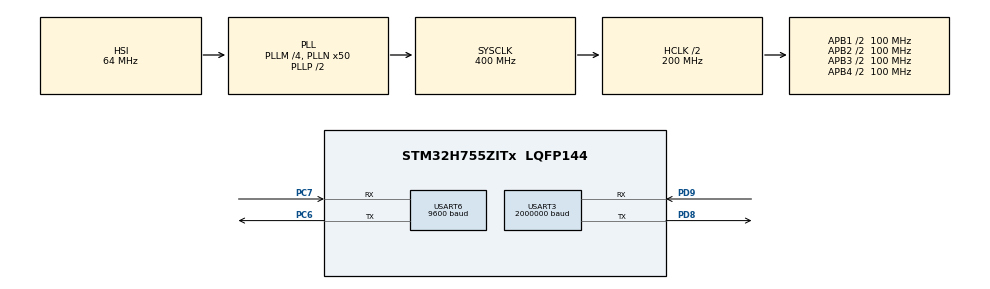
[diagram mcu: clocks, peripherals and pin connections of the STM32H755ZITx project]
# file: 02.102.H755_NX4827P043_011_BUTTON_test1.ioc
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CortexM4.IPs=FATFS_M4\:I,FREERTOS_M4\:I,IWDG2\:I,RCC,WWDG2\:I,DMA,BDMA,MDMA,NVIC2\:I,ETH,DEBUG,PDM2PCM_M4\:I,PWR,RESMGR_UTILITY,SYS_M4\:I,USB_DEVICE_M4\:I,USB_HOST_M4\:I,CORTEX_M4\:I,GPIO,OPENAMP_M4\:I,VREFBUF,NUCLEO-H755ZI-Q
CortexM7.IPs=FATFS_M7\:I,FREERTOS_M7\:I,IWDG1\:I,RCC\:I,WWDG1\:I,DMA\:I,BDMA\:I,MDMA\:I,NVIC1\:I,ETH\:I,USB_OTG_FS\:I,SYS\:I,CORTEX_M7\:I,DEBUG\:I,PDM2PCM_M7\:I,PWR\:I,RESMGR_UTILITY\:I,USB_DEVICE_M7\:I,USB_HOST_M7\:I,GPIO\:I,OPENAMP_M7\:I,VREFBUF\:I,NUCLEO-H755ZI-Q\:I,USART3\:I,USART6\:I
Dma.Request0=USART3_TX
Dma.Request1=USART3_RX
Dma.USART3_RX.1.Direction=DMA_PERIPH_TO_MEMORY
Dma.USART3_RX.1.EventEnable=DISABLE
Dma.USART3_RX.1.FIFOMode=DMA_FIFOMODE_DISABLE
Dma.USART3_RX.1.Instance=DMA1_Stream1
Dma.USART3_RX.1.MemDataAlignment=DMA_MDATAALIGN_BYTE
Dma.USART3_RX.1.MemInc=DMA_MINC_ENABLE
Dma.USART3_RX.1.Mode=DMA_CIRCULAR
Dma.USART3_RX.1.PeriphDataAlignment=DMA_PDATAALIGN_BYTE
Dma.USART3_RX.1.PeriphInc=DMA_PINC_DISABLE
Dma.USART3_RX.1.Polarity=HAL_DMAMUX_REQ_GEN_RISING
Dma.USART3_RX.1.Priority=DMA_PRIORITY_LOW
Dma.USART3_RX.1.RequestNumber=1
Dma.USART3_RX.1.SignalID=NONE
Dma.USART3_RX.1.SyncEnable=DISABLE
Dma.USART3_RX.1.SyncPolarity=HAL_DMAMUX_SYNC_NO_EVENT
Dma.USART3_RX.1.SyncRequestNumber=1
Dma.USART3_RX.1.SyncSignalID=NONE
Dma.USART3_TX.0.Direction=DMA_MEMORY_TO_PERIPH
Dma.USART3_TX.0.EventEnable=DISABLE
Dma.USART3_TX.0.FIFOMode=DMA_FIFOMODE_DISABLE
Dma.USART3_TX.0.Instance=DMA1_Stream0
Dma.USART3_TX.0.MemDataAlignment=DMA_MDATAALIGN_BYTE
Dma.USART3_TX.0.MemInc=DMA_MINC_ENABLE
Dma.USART3_TX.0.Mode=DMA_NORMAL
Dma.USART3_TX.0.PeriphDataAlignment=DMA_PDATAALIGN_BYTE
Dma.USART3_TX.0.PeriphInc=DMA_PINC_DISABLE
Dma.USART3_TX.0.Polarity=HAL_DMAMUX_REQ_GEN_RISING
Dma.USART3_TX.0.Priority=DMA_PRIORITY_LOW
Dma.USART3_TX.0.RequestNumber=1
Dma.USART3_TX.0.SignalID=NONE
Dma.USART3_TX.0.SyncEnable=DISABLE
Dma.USART3_TX.0.SyncPolarity=HAL_DMAMUX_SYNC_NO_EVENT
Dma.USART3_TX.0.SyncRequestNumber=1
Dma.USART3_TX.0.SyncSignalID=NONE
Mcu.Family=STM32H7
Mcu.Name=STM32H755ZITx
Mcu.Package=LQFP144
NVIC1.DMA1_Stream0_IRQn=true\:1\:0\:true\:false\:true\:false\:true\:true
NVIC1.DMA1_Stream1_IRQn=true\:1\:0\:true\:false\:true\:false\:true\:true
NVIC1.PriorityGroup=NVIC_PRIORITYGROUP_4
NVIC1.USART3_IRQn=true\:1\:0\:true\:false\:true\:true\:true\:true
NVIC2.PriorityGroup=NVIC_PRIORITYGROUP_4
PB0.TagName=LD1
PB14.TagName=LD3
PC13.TagName=BUTTON
PC6.Mode=Asynchronous
PC6.PinAttribute=CortexM7
PC6.Signal=USART6_TX
PC7.Mode=Asynchronous
PC7.PinAttribute=CortexM7
PC7.Signal=USART6_RX
PD8.Mode=Asynchronous
PD8.PinAttribute=CortexM7
PD8.Signal=USART3_TX
PD8.TagName=VCP_RX
PD9.Mode=Asynchronous
PD9.PinAttribute=CortexM7
PD9.Signal=USART3_RX
PD9.TagName=VCP_TX
PE1.TagName=LD2
ProjectManager.HeapSize=M4-0x200,M7-0x200
ProjectManager.StackSize=M4-0x400,M7-0x400
ProjectManager.TargetToolchain=STM32CubeIDE
RCC.ADCFreq_Value=129000000
RCC.APB1Freq_Value=100000000
RCC.APB2Freq_Value=100000000
RCC.APB3Freq_Value=100000000
RCC.APB4Freq_Value=100000000
RCC.CortexFreq_Value=400000000
RCC.D1PPRE=RCC_APB3_DIV2
RCC.D2PPRE1=RCC_APB1_DIV2
RCC.D2PPRE2=RCC_APB2_DIV2
RCC.D3PPRE=RCC_APB4_DIV2
RCC.DIVM1=4
RCC.DIVN1=50
RCC.DIVQ1=5
RCC.HCLKFreq_Value=200000000
RCC.HPRE=RCC_HCLK_DIV2
RCC.PLL2FRACN=0
RCC.PLL3FRACN=0
RCC.PLLFRACN=0
RCC.SYSCLKFreq_VALUE=400000000
RCC.SYSCLKSource=RCC_SYSCLKSOURCE_PLLCLK
RCC.SupplySource=PWR_DIRECT_SMPS_SUPPLY
RCC.USBFreq_Value=160000000
USART3.BaudRate=2000000
USART3.VirtualMode-Asynchronous=VM_ASYNC
USART6.BaudRate=9600
USART6.VirtualMode-Asynchronous=VM_ASYNC
VP_SYS_M4_VS_Systick.Mode=SysTick
board=NUCLEO-H755ZI-Q

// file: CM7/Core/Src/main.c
/* USER CODE BEGIN Header */
/**
  ******************************************************************************
  * @file           : main.c
  * @brief          : Main program body
  ******************************************************************************
  * @attention
  *
  * Copyright (c) 2025 STMicroelectronics.
  * All rights reserved.
  *
  * This software is licensed under terms that can be found in the LICENSE file
  * in the root directory of this software component.
  * If no LICENSE file comes with this software, it is provided AS-IS.
  *
  ******************************************************************************
  */
/* USER CODE END Header */
#include "main.h"

/* USER CODE BEGIN Includes */
#include <stdio.h>
#include <string.h>
#include <stddef.h>
#include <stdarg.h>
#include <stdbool.h>
#include <stdlib.h>
/* USER CODE END Includes */

/* USER CODE BEGIN PD */

/* DUAL_CORE_BOOT_SYNC_SEQUENCE: Define for dual core boot synchronization    */
/*                             demonstration code based on hardware semaphore */
/* This define is present in both CM7/CM4 projects                            */
/* To comment when developping/debugging on a single core                     */
#define DUAL_CORE_BOOT_SYNC_SEQUENCE

#if defined(DUAL_CORE_BOOT_SYNC_SEQUENCE)
#ifndef HSEM_ID_0
#define HSEM_ID_0 (0U) /* HW semaphore 0*/
#endif
#endif /* DUAL_CORE_BOOT_SYNC_SEQUENCE */

/* USER CODE END PD */

UART_HandleTypeDef huart3;
UART_HandleTypeDef huart6;
DMA_HandleTypeDef hdma_usart3_tx;
DMA_HandleTypeDef hdma_usart3_rx;

/* USER CODE BEGIN PV */
uint8_t dma_rx_buffer[64];
uint8_t dma_tx_buffer[64];
uint16_t old_pos = 0;

uint8_t it_rx_buffer[64];

static volatile bool uart_tx_busy = false;
static char uartBuffer[250];

uint8_t nextion_rx_byte;
uint8_t nextion_rx_buffer[128];
uint16_t nextion_rx_index = 0;

//#define UART6_DMA_RX_BUF_SIZE 128
//
//UART_HandleTypeDef huart6;
//
///* DMA RX buffer */
//uint8_t uart6_dma_rx_buf[UART6_DMA_RX_BUF_SIZE];
//
///* Software read index */
//uint16_t uart6_rx_old_pos = 0;
/* USER CODE END PV */

void SystemClock_Config(void);
static void MX_GPIO_Init(void);
static void MX_DMA_Init(void);
static void MX_USART3_UART_Init(void);
static void MX_USART6_UART_Init(void);

/* USER CODE BEGIN 0 */
void DebugPrint(const char *format, ...)
{
	// Wait for previous transmission to complete
	    while (uart_tx_busy);

	    va_list args;
	    va_start(args, format);
	    vsnprintf(uartBuffer, sizeof(uartBuffer), format, args);
	    va_end(args);

	    uart_tx_busy = true;

	    HAL_UART_Transmit_DMA(&huart3, (uint8_t *)uartBuffer, strlen(uartBuffer));
}

//void Nextion_DMA_Process(void)
//{
//    uint16_t new_pos;
//    uint16_t i;
//
//    /* Calculate current DMA write position */
//    new_pos = UART6_DMA_RX_BUF_SIZE -
//              __HAL_DMA_GET_COUNTER(huart6.hdmarx);
//
//    /* If new data arrived */
//    if (new_pos != uart6_rx_old_pos)
//    {
//        if (new_pos > uart6_rx_old_pos)
//        {
//            /* No wrap-around */
//            for (i = uart6_rx_old_pos; i < new_pos; i++)
//            {
//                DebugPrint("%02X ", uart6_dma_rx_buf[i]);
//            }
//        }
//        else
//        {
//            /* Wrap-around case */
//            for (i = uart6_rx_old_pos; i < UART6_DMA_RX_BUF_SIZE; i++)
//            {
//                DebugPrint("%02X ", uart6_dma_rx_buf[i]);
//            }
//            for (i = 0; i < new_pos; i++)
//            {
//                DebugPrint("%02X ", uart6_dma_rx_buf[i]);
//            }
//        }
//
//        /* Update last processed position */
//        uart6_rx_old_pos = new_pos;
//    }
//}

void Nextion_Poll_And_Forward(void)
{
    if (HAL_UART_Receive(&huart6, &nextion_rx_byte, 1, 1) == HAL_OK)
    {
        char buf[8];

        if (nextion_rx_index < sizeof(nextion_rx_buffer))
        {
            nextion_rx_buffer[nextion_rx_index++] = nextion_rx_byte;
        }

        sprintf(buf, "%02X ", (unsigned int)nextion_rx_byte);
        DebugPrint(buf);
    }
}

void check_dma_data(void)
{
    static uint32_t total_pos = 0;  // new: global linear counter

    uint16_t pos = sizeof(dma_rx_buffer) - __HAL_DMA_GET_COUNTER(&hdma_usart3_rx);

    if (pos != old_pos)
    {
        if (pos > old_pos)
        {
            // Normal forward move (no wrap)
            for (uint16_t i = old_pos; i < pos; i++)
            {
                DebugPrint("\r\nGot: '%c' (0x%02X) at pos %lu\r\n\r\n",
                           dma_rx_buffer[i], dma_rx_buffer[i], total_pos++);
            }
        }
        else
        {
            // Wrapped around — handle end part and restart from 0
            for (uint16_t i = old_pos; i < sizeof(dma_rx_buffer); i++)
            {
                DebugPrint("\r\nGot: '%c' (0x%02X) at pos %lu\r\n\r\n",
                           dma_rx_buffer[i], dma_rx_buffer[i], total_pos++);
            }
            for (uint16_t i = 0; i < pos; i++)
            {
                DebugPrint("\r\nGot: '%c' (0x%02X) at pos %lu\r\n\r\n",
                           dma_rx_buffer[i], dma_rx_buffer[i], total_pos++);
            }
        }

        old_pos = pos;
    }
}
/* USER CODE END 0 */

int main(void)
{

/* USER CODE BEGIN Boot_Mode_Sequence_0 */
#if defined(DUAL_CORE_BOOT_SYNC_SEQUENCE)
  int32_t timeout;
#endif /* DUAL_CORE_BOOT_SYNC_SEQUENCE */
/* USER CODE END Boot_Mode_Sequence_0 */

/* USER CODE BEGIN Boot_Mode_Sequence_1 */
#if defined(DUAL_CORE_BOOT_SYNC_SEQUENCE)
  /* Wait until CPU2 boots and enters in stop mode or timeout*/
  timeout = 0xFFFF;
  while((__HAL_RCC_GET_FLAG(RCC_FLAG_D2CKRDY) != RESET) && (timeout-- > 0));
  if ( timeout < 0 )
  {
  Error_Handler();
  }
#endif /* DUAL_CORE_BOOT_SYNC_SEQUENCE */
/* USER CODE END Boot_Mode_Sequence_1 */
  /* MCU Configuration--------------------------------------------------------*/

  /* Reset of all peripherals, Initializes the Flash interface and the Systick. */
  HAL_Init();

  /* Configure the system clock */
  SystemClock_Config();
/* USER CODE BEGIN Boot_Mode_Sequence_2 */
#if defined(DUAL_CORE_BOOT_SYNC_SEQUENCE)
/* When system initialization is finished, Cortex-M7 will release Cortex-M4 by means of
HSEM notification */
/*HW semaphore Clock enable*/
__HAL_RCC_HSEM_CLK_ENABLE();
/*Take HSEM */
HAL_HSEM_FastTake(HSEM_ID_0);
/*Release HSEM in order to notify the CPU2(CM4)*/
HAL_HSEM_Release(HSEM_ID_0,0);
/* wait until CPU2 wakes up from stop mode */
timeout = 0xFFFF;
while((__HAL_RCC_GET_FLAG(RCC_FLAG_D2CKRDY) == RESET) && (timeout-- > 0));
if ( timeout < 0 )
{
Error_Handler();
}
#endif /* DUAL_CORE_BOOT_SYNC_SEQUENCE */
/* USER CODE END Boot_Mode_Sequence_2 */

  /* Initialize all configured peripherals */
  MX_GPIO_Init();
  MX_DMA_Init();
  MX_USART3_UART_Init();
  MX_USART6_UART_Init();
  /* USER CODE BEGIN 2 */
  DebugPrint("UART3 DMA started! Type something...\r\n");

  HAL_UART_Receive_DMA(&huart3, dma_rx_buffer, sizeof(dma_rx_buffer));

  /* USER CODE END 2 */

  /* Infinite loop */
  while (1)
  {

    /* USER CODE BEGIN 3 */
	  Nextion_Poll_And_Forward();
	  check_dma_data();
  }
  /* USER CODE END 3 */
}

void SystemClock_Config(void)
{
  RCC_OscInitTypeDef RCC_OscInitStruct = {0};
  RCC_ClkInitTypeDef RCC_ClkInitStruct = {0};

  /** Supply configuration update enable
  */
  HAL_PWREx_ConfigSupply(PWR_DIRECT_SMPS_SUPPLY);

  /** Configure the main internal regulator output voltage
  */
  __HAL_PWR_VOLTAGESCALING_CONFIG(PWR_REGULATOR_VOLTAGE_SCALE1);

  while(!__HAL_PWR_GET_FLAG(PWR_FLAG_VOSRDY)) {}

  /** Initializes the RCC Oscillators according to the specified parameters
  * in the RCC_OscInitTypeDef structure.
  */
  RCC_OscInitStruct.OscillatorType = RCC_OSCILLATORTYPE_HSI;
  RCC_OscInitStruct.HSIState = RCC_HSI_DIV1;
  RCC_OscInitStruct.HSICalibrationValue = RCC_HSICALIBRATION_DEFAULT;
  RCC_OscInitStruct.PLL.PLLState = RCC_PLL_ON;
  RCC_OscInitStruct.PLL.PLLSource = RCC_PLLSOURCE_HSI;
  RCC_OscInitStruct.PLL.PLLM = 4;
  RCC_OscInitStruct.PLL.PLLN = 50;
  RCC_OscInitStruct.PLL.PLLP = 2;
  RCC_OscInitStruct.PLL.PLLQ = 5;
  RCC_OscInitStruct.PLL.PLLR = 2;
  RCC_OscInitStruct.PLL.PLLRGE = RCC_PLL1VCIRANGE_3;
  RCC_OscInitStruct.PLL.PLLVCOSEL = RCC_PLL1VCOWIDE;
  RCC_OscInitStruct.PLL.PLLFRACN = 0;
  if (HAL_RCC_OscConfig(&RCC_OscInitStruct) != HAL_OK)
  {
    Error_Handler();
  }

  /** Initializes the CPU, AHB and APB buses clocks
  */
  RCC_ClkInitStruct.ClockType = RCC_CLOCKTYPE_HCLK|RCC_CLOCKTYPE_SYSCLK
                              |RCC_CLOCKTYPE_PCLK1|RCC_CLOCKTYPE_PCLK2
                              |RCC_CLOCKTYPE_D3PCLK1|RCC_CLOCKTYPE_D1PCLK1;
  RCC_ClkInitStruct.SYSCLKSource = RCC_SYSCLKSOURCE_PLLCLK;
  RCC_ClkInitStruct.SYSCLKDivider = RCC_SYSCLK_DIV1;
  RCC_ClkInitStruct.AHBCLKDivider = RCC_HCLK_DIV2;
  RCC_ClkInitStruct.APB3CLKDivider = RCC_APB3_DIV2;
  RCC_ClkInitStruct.APB1CLKDivider = RCC_APB1_DIV2;
  RCC_ClkInitStruct.APB2CLKDivider = RCC_APB2_DIV2;
  RCC_ClkInitStruct.APB4CLKDivider = RCC_APB4_DIV2;

  if (HAL_RCC_ClockConfig(&RCC_ClkInitStruct, FLASH_LATENCY_2) != HAL_OK)
  {
    Error_Handler();
  }
}

static void MX_USART3_UART_Init(void)
{

  huart3.Instance = USART3;
  huart3.Init.BaudRate = 2000000;
  huart3.Init.WordLength = UART_WORDLENGTH_8B;
  huart3.Init.StopBits = UART_STOPBITS_1;
  huart3.Init.Parity = UART_PARITY_NONE;
  huart3.Init.Mode = UART_MODE_TX_RX;
  huart3.Init.HwFlowCtl = UART_HWCONTROL_NONE;
  huart3.Init.OverSampling = UART_OVERSAMPLING_16;
  huart3.Init.OneBitSampling = UART_ONE_BIT_SAMPLE_DISABLE;
  huart3.Init.ClockPrescaler = UART_PRESCALER_DIV1;
  huart3.AdvancedInit.AdvFeatureInit = UART_ADVFEATURE_NO_INIT;
  if (HAL_UART_Init(&huart3) != HAL_OK)
  {
    Error_Handler();
  }
  if (HAL_UARTEx_SetTxFifoThreshold(&huart3, UART_TXFIFO_THRESHOLD_1_8) != HAL_OK)
  {
    Error_Handler();
  }
  if (HAL_UARTEx_SetRxFifoThreshold(&huart3, UART_RXFIFO_THRESHOLD_1_8) != HAL_OK)
  {
    Error_Handler();
  }
  if (HAL_UARTEx_DisableFifoMode(&huart3) != HAL_OK)
  {
    Error_Handler();
  }

}

static void MX_USART6_UART_Init(void)
{

  huart6.Instance = USART6;
  huart6.Init.BaudRate = 9600;
  huart6.Init.WordLength = UART_WORDLENGTH_8B;
  huart6.Init.StopBits = UART_STOPBITS_1;
  huart6.Init.Parity = UART_PARITY_NONE;
  huart6.Init.Mode = UART_MODE_TX_RX;
  huart6.Init.HwFlowCtl = UART_HWCONTROL_NONE;
  huart6.Init.OverSampling = UART_OVERSAMPLING_16;
  huart6.Init.OneBitSampling = UART_ONE_BIT_SAMPLE_DISABLE;
  huart6.Init.ClockPrescaler = UART_PRESCALER_DIV1;
  huart6.AdvancedInit.AdvFeatureInit = UART_ADVFEATURE_NO_INIT;
  if (HAL_UART_Init(&huart6) != HAL_OK)
  {
    Error_Handler();
  }
  if (HAL_UARTEx_SetTxFifoThreshold(&huart6, UART_TXFIFO_THRESHOLD_1_8) != HAL_OK)
  {
    Error_Handler();
  }
  if (HAL_UARTEx_SetRxFifoThreshold(&huart6, UART_RXFIFO_THRESHOLD_1_8) != HAL_OK)
  {
    Error_Handler();
  }
  if (HAL_UARTEx_DisableFifoMode(&huart6) != HAL_OK)
  {
    Error_Handler();
  }

}

static void MX_DMA_Init(void)
{

  /* DMA controller clock enable */
  __HAL_RCC_DMA1_CLK_ENABLE();

  /* DMA interrupt init */
  /* DMA1_Stream0_IRQn interrupt configuration */
  HAL_NVIC_SetPriority(DMA1_Stream0_IRQn, 1, 0);
  HAL_NVIC_EnableIRQ(DMA1_Stream0_IRQn);
  /* DMA1_Stream1_IRQn interrupt configuration */
  HAL_NVIC_SetPriority(DMA1_Stream1_IRQn, 1, 0);
  HAL_NVIC_EnableIRQ(DMA1_Stream1_IRQn);

}

static void MX_GPIO_Init(void)
{

  /* GPIO Ports Clock Enable */
  __HAL_RCC_GPIOD_CLK_ENABLE();
  __HAL_RCC_GPIOC_CLK_ENABLE();

}

/* USER CODE BEGIN 4 */
void HAL_UART_TxCpltCallback(UART_HandleTypeDef *huart)
{
    if (huart->Instance == USART3)
    {
        uart_tx_busy = false;  // Transmission complete
    }
}
/* USER CODE END 4 */

void Error_Handler(void)
{
  __disable_irq();
  while (1)
  {
  }
}
